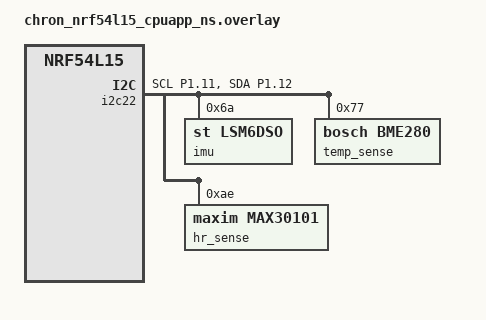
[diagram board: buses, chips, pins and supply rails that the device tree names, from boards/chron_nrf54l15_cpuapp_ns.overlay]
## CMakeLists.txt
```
#
# Copyright (c) 2016 Intel Corporation
#
# SPDX-License-Identifier: Apache-2.0
#

cmake_minimum_required(VERSION 3.20.0)
find_package(Zephyr REQUIRED HINTS $ENV{ZEPHYR_BASE})
project(chron)

target_sources(app PRIVATE src/main.c)
target_sources(app PRIVATE src/gpio.c)
target_sources(app PRIVATE src/imu.c)
target_sources(app PRIVATE src/temp_sensor.c)
target_sources(app PRIVATE src/hr_sensor.c)
target_sources(app PRIVATE src/page.c)
target_sources(app PRIVATE src/pages/home.c)
target_sources(app PRIVATE src/pages/summary.c)
target_sources(app PRIVATE src/pages/settings.c)
target_sources(app PRIVATE src/pages/timer.c)
target_sources(app PRIVATE src/pages/activity.c)
target_sources(app PRIVATE src/pages/climate.c)
```

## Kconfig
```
source "Kconfig.zephyr"

config DBG_PRINT
	bool "Enable debug printouts"
	default n
```

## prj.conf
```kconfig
CONFIG_GPIO=y
CONFIG_LOG=y
CONFIG_DBG_PRINT=y
CONFIG_LOG_MODE_DEFERRED=n
CONFIG_I2C=y
CONFIG_CBPRINTF_FP_SUPPORT=y
```

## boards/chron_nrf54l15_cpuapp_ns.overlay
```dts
&pinctrl {
	i2c20_default: i2c20_default {
		group1 {
			psels = <NRF_PSEL(TWIM_SCL, 1, 11)>, <NRF_PSEL(TWIM_SDA, 1, 12)>;
		};
	};

	i2c20_sleep: i2c20_sleep {
		group1 {
			psels = <NRF_PSEL(TWIM_SCL, 1, 11)>, <NRF_PSEL(TWIM_SDA, 1, 12)>;
			low-power-enable;
		};
	};

	i2c22_default: i2c22_default {
		group1 {
			psels = <NRF_PSEL(TWIM_SCL, 1, 11)>, <NRF_PSEL(TWIM_SDA, 1, 12)>;
		};
	};

	i2c22_sleep: i2c22_sleep {
		group1 {
			psels = <NRF_PSEL(TWIM_SCL, 1, 11)>, <NRF_PSEL(TWIM_SDA, 1, 12)>;
			low-power-enable;
		};
	};
};

&i2c22 {
	status = "okay";
	pinctrl-0 = <&i2c22_default>;
	pinctrl-1 = <&i2c22_sleep>;
	pinctrl-names = "default", "sleep";
	imu: lsm6dsox@6a {
		compatible = "st,lsm6dso";
		reg = <0x6a>;
	};

	temp_sense: bme280@77 {
		compatible = "bosch,bme280";
		reg = <0x77>;
	};

	hr_sense: max30102@ae {
		compatible = "maxim,max30101";
		reg = <0xae>;
	};
};
```

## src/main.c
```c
#include <zephyr/kernel.h>
#include <zephyr/logging/log.h>
#include <zephyr/drivers/gpio.h>

#include "gpio.h"
#include "page.h"
#include "pages/timer.h"
#include "imu.h"
#include "temp_sensor.h"
#include "hr_sensor.h"

/* Register with logger module */
#ifdef CONFIG_DBG_PRINT
    LOG_MODULE_REGISTER(main, LOG_LEVEL_DBG);
#else
    LOG_MODULE_REGISTER(main, LOG_LEVEL_INF);
#endif

/* Main routine */
int main(void) {
    LOG_INF("Starting main routine");
    gpio_init();
    timer_init();
    ui_init();
    imu_init();
    temp_sensor_init();
    return 0;
}
```

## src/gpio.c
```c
#include <zephyr/kernel.h>
#include <zephyr/device.h>
#include <zephyr/devicetree.h>
#include <zephyr/drivers/gpio.h>
#include <zephyr/logging/log.h>

#include "page.h"

/* GPIO device structures for buttons */
#define SW0_NODE DT_ALIAS(sw0)
static const struct gpio_dt_spec button0 = GPIO_DT_SPEC_GET(SW0_NODE, gpios);

#define SW1_NODE DT_ALIAS(sw1)
static const struct gpio_dt_spec button1 = GPIO_DT_SPEC_GET(SW1_NODE, gpios);

#define SW2_NODE DT_ALIAS(sw2)
static const struct gpio_dt_spec button2 = GPIO_DT_SPEC_GET(SW2_NODE, gpios);

#define SW3_NODE DT_ALIAS(sw3)
static const struct gpio_dt_spec button3 = GPIO_DT_SPEC_GET(SW3_NODE, gpios);

/* GPIO device structures for buttons */
#define LED0_NODE DT_ALIAS(led0)
static const struct gpio_dt_spec led0 = GPIO_DT_SPEC_GET(LED0_NODE, gpios);

#define LED1_NODE DT_ALIAS(led1)
static const struct gpio_dt_spec led1 = GPIO_DT_SPEC_GET(LED1_NODE, gpios);

#define LED2_NODE DT_ALIAS(led2)
static const struct gpio_dt_spec led2 = GPIO_DT_SPEC_GET(LED2_NODE, gpios);

#define LED3_NODE DT_ALIAS(led3)
static const struct gpio_dt_spec led3 = GPIO_DT_SPEC_GET(LED3_NODE, gpios);

/* Register with logger module */
#ifdef CONFIG_DBG_PRINT
    LOG_MODULE_REGISTER(gpio, LOG_LEVEL_DBG);
#else
    LOG_MODULE_REGISTER(gpio, LOG_LEVEL_INF);
#endif

/* Button 0 callback function */
void button0_pressed(const struct device *dev, struct gpio_callback *cb, uint32_t pins)
{
	int ret;
	gpio_pin_toggle_dt(&led0);
	LOG_DBG("Button 0 pressed");
	if ((ret = k_work_submit_to_queue(&ui_workq, &button0_work)) < 0) {
		LOG_ERR("Failed to submit button 0 press to queue (err %d)", ret);
	}
}

/* Button 1 callback function */
void button1_pressed(const struct device *dev, struct gpio_callback *cb, uint32_t pins)
{
	int ret;
	gpio_pin_toggle_dt(&led1);
	LOG_DBG("Button 1 pressed");
	if ((ret = k_work_submit_to_queue(&ui_workq, &button1_work)) < 0) {
		LOG_ERR("Failed to submit button 0 press to queue (err %d)", ret);
	}
}

/* Button 2 callback function */
void button2_pressed(const struct device *dev, struct gpio_callback *cb, uint32_t pins)
{
	int ret;
	gpio_pin_toggle_dt(&led2);
	LOG_DBG("Button 2 pressed");
	if ((ret = k_work_submit_to_queue(&ui_workq, &button2_work)) < 0) {
		LOG_ERR("Failed to submit button 0 press to queue (err %d)", ret);
	}
}

/* Button 3 callback function */
void button3_pressed(const struct device *dev, struct gpio_callback *cb, uint32_t pins)
{
	int ret;
	gpio_pin_toggle_dt(&led3);
	LOG_DBG("Button 3 pressed");
	if ((ret = k_work_submit_to_queue(&ui_workq, &button3_work)) < 0) {
		LOG_ERR("Failed to submit button 0 press to queue (err %d)", ret);
	}
}

/* Define a variable of type static struct gpio_callback */
static struct gpio_callback button0_cb_data;
static struct gpio_callback button1_cb_data;
static struct gpio_callback button2_cb_data;
static struct gpio_callback button3_cb_data;

int gpio_init(void)
{
	int ret;

	/* Check button status */
	if (!device_is_ready(button0.port)) {
		LOG_ERR("Button 0 not ready");
		return -1;
	}
	if (!device_is_ready(button1.port)) {
		LOG_ERR("Button 1 not ready");
		return -1;
	}
	if (!device_is_ready(button2.port)) {
		LOG_ERR("Button 2 not ready");
		return -1;
	}
	if (!device_is_ready(button3.port)) {
		LOG_ERR("Button 3 not ready");
		return -1;
	}

	LOG_DBG("All buttons ready for use");

	/* Check LED status */
	if (!device_is_ready(led0.port)) {
		LOG_ERR("LED 0 not ready");
		return -1;
	}
	if (!device_is_ready(led1.port)) {
		LOG_ERR("LED 1 not ready");
		return -1;
	}
	if (!device_is_ready(led2.port)) {
		LOG_ERR("LED 2 not ready");
		return -1;
	}
	if (!device_is_ready(led3.port)) {
		LOG_ERR("LED 3 not ready");
		return -1;
	}

	LOG_DBG("All LEDs ready for use");

	/* Configure buttons */
	ret = gpio_pin_configure_dt(&button0, GPIO_INPUT);
	if (ret < 0) {
		LOG_ERR("Failed to configure button 0 (err %d)", ret);
		return -1;
	}
	ret = gpio_pin_configure_dt(&button1, GPIO_INPUT);
	if (ret < 0) {
		LOG_ERR("Failed to configure button 1 (err %d)", ret);
		return -1;
	}
	ret = gpio_pin_configure_dt(&button2, GPIO_INPUT);
	if (ret < 0) {
		LOG_ERR("Failed to configure button 2 (err %d)", ret);
		return -1;
	}
	ret = gpio_pin_configure_dt(&button3, GPIO_INPUT);
	if (ret < 0) {
		LOG_ERR("Failed to configure button 3 (err %d)", ret);
		return -1;
	}

	LOG_DBG("All buttons successfully configured");

	/* Configure LEDs */
	ret = gpio_pin_configure_dt(&led0, GPIO_OUTPUT_ACTIVE);
	if (ret < 0) {
		LOG_ERR("Failed to configure led 0 (err %d)", ret);
		return -1;
	}
	ret = gpio_pin_configure_dt(&led1, GPIO_OUTPUT_ACTIVE);
	if (ret < 0) {
		LOG_ERR("Failed to configure led 1 (err %d)", ret);
		return -1;
	}
	ret = gpio_pin_configure_dt(&led2, GPIO_OUTPUT_ACTIVE);
	if (ret < 0) {
		LOG_ERR("Failed to configure led 2 (err %d)", ret);
		return -1;
	}
	ret = gpio_pin_configure_dt(&led3, GPIO_OUTPUT_ACTIVE);
	if (ret < 0) {
		LOG_ERR("Failed to configure led 3 (err %d)", ret);
		return -1;
	}

	LOG_DBG("All LEDs successfully configured");

	/* Configure the interrupt on the buttons' pins */
	ret = gpio_pin_interrupt_configure_dt(&button0, GPIO_INT_EDGE_TO_ACTIVE);
	if (ret < 0) {
		LOG_ERR("Failed to configure button 0 interrupt (err %d)", ret);
		return -1;
	}
	ret = gpio_pin_interrupt_configure_dt(&button1, GPIO_INT_EDGE_TO_ACTIVE);
	if (ret < 0) {
		LOG_ERR("Failed to configure button 1 interrupt (err %d)", ret);
		return -1;
	}
	ret = gpio_pin_interrupt_configure_dt(&button2, GPIO_INT_EDGE_TO_ACTIVE);
	if (ret < 0) {
		LOG_ERR("Failed to configure button 2 interrupt (err %d)", ret);
		return -1;
	}
	ret = gpio_pin_interrupt_configure_dt(&button3, GPIO_INT_EDGE_TO_ACTIVE);
	if (ret < 0) {
		LOG_ERR("Failed to configure button 3 interrupt (err %d)", ret);
		return -1;
	}

	LOG_DBG("All button interrupts successfully configured");

	/* Initialize the static struct gpio_callback variables */
	gpio_init_callback(&button0_cb_data, button0_pressed, BIT(button0.pin));
	gpio_init_callback(&button1_cb_data, button1_pressed, BIT(button1.pin));
	gpio_init_callback(&button2_cb_data, button2_pressed, BIT(button2.pin));
	gpio_init_callback(&button3_cb_data, button3_pressed, BIT(button3.pin));

	/* Add the callback functions */
	gpio_add_callback(button0.port, &button0_cb_data);
	gpio_add_callback(button1.port, &button1_cb_data);
	gpio_add_callback(button2.port, &button2_cb_data);
	gpio_add_callback(button3.port, &button3_cb_data);

	LOG_INF("GPIO successfully initialized");
	return ret;
}
```

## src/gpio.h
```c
/**
 * @brief Initialize GPIO devices
 *
 * Configures LEDs and buttons, including callback functions.
 *
 * @return 0 if successful, negative error code otherwise.
 */
int gpio_init(void);
```

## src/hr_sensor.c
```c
#include <zephyr/kernel.h>
#include <zephyr/device.h>
#include <zephyr/devicetree.h>
#include <zephyr/drivers/gpio.h>
#include <zephyr/logging/log.h>
#include <zephyr/drivers/i2c.h>

#include "hr_sensor.h"

#define I2C_ADDRESS 0xAE
#define DEVICE_ID   0x15
#define ID	        0xFF

#define I2C_NODE DT_NODELABEL(hr_sense)
static const struct i2c_dt_spec dev_i2c = I2C_DT_SPEC_GET(I2C_NODE);

/* Register with logger module */
#ifdef CONFIG_DBG_PRINT
    LOG_MODULE_REGISTER(hr_sensor, LOG_LEVEL_DBG);
#else
    LOG_MODULE_REGISTER(hr_sensor, LOG_LEVEL_INF);
#endif

int hr_sensor_init(void) {
    if (!i2c_is_ready_dt(&dev_i2c)) {
        LOG_ERR("HR sensor is not ready");
        return -1;
    }

    uint8_t id = 0;
    uint8_t regs[] = {ID};
    int ret = i2c_write_read_dt(&dev_i2c, regs, 1, &id, 1);

    if (ret != 0) {
        LOG_ERR("Could not read device ID (err %d)", ret);
        return -1;
    }

    if (id != DEVICE_ID) {
        LOG_ERR("Could not verify device ID");
        return -1;
    }

    LOG_INF("HR sensor successfully initialized");
    return 0;
}
```

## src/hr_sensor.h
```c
/**
 * @brief Initialize Heart Rate Sensor
 *
 * @return 0 if successful, negative error code otherwise.
 */
int hr_sensor_init(void);
```

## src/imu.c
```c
#include <zephyr/kernel.h>
#include <zephyr/device.h>
#include <zephyr/devicetree.h>
#include <zephyr/drivers/gpio.h>
#include <zephyr/logging/log.h>
#include <zephyr/drivers/i2c.h>

#include "imu.h"

#define I2C_ADDRESS      0x6A
#define DEVICE_ID        0x6C
#define WHO_AM_I         0x0F
#define EMB_FUNC_ENABLE  0x01
#define ACCEL_ENABLE     0x10
#define PEDOMETER_ENABLE 0x04
#define PEDOMETER_INIT   0x66
#define STEPS_COUNT      0x62
#define STEPS_RESET      0x64

#define I2C_NODE DT_NODELABEL(imu)
static const struct i2c_dt_spec dev_i2c = I2C_DT_SPEC_GET(I2C_NODE);

/* Register with logger module */
#ifdef CONFIG_DBG_PRINT
    LOG_MODULE_REGISTER(imu, LOG_LEVEL_DBG);
#else
    LOG_MODULE_REGISTER(imu, LOG_LEVEL_INF);
#endif

int imu_init(void) {
    if (!i2c_is_ready_dt(&dev_i2c)) {
        LOG_ERR("IMU is not ready");
        return -1;
    }

    /* Disable embedded function registers to access WHO_AM_I, Accel */
    int ret;
    uint8_t emb_func_config_disable[] = {EMB_FUNC_ENABLE, 0x0};
    ret = i2c_write_dt(&dev_i2c, emb_func_config_disable, 2);
    if (ret < 0) {
        LOG_ERR("Could not disable embedded function registers (err %d)", ret);
        return -1;
    }

    /* Verify ID */
    uint8_t reg = WHO_AM_I;
    uint8_t id = 0;
    ret = i2c_write_read_dt(&dev_i2c, &reg, sizeof(reg), &id, sizeof(id));
    if (ret < 0) {
        LOG_ERR("Could not read device ID (err %d)", ret);
        return -1;
    }

    if (id != DEVICE_ID) {
        LOG_ERR("Could not verify device ID");
        return -1;
    }

    /* Enable accelerometer */
    uint8_t accel_config[] = {ACCEL_ENABLE, 0x10};
    ret = i2c_write_dt(&dev_i2c, accel_config, 2);
    if (ret < 0) {
        LOG_ERR("Could not enable accelerometer (err %d)", ret);
        return -1;
    }

    /* Enable embedded function registers */
    uint8_t emb_func_config_enable[] = {EMB_FUNC_ENABLE, 0x80};
    ret = i2c_write_dt(&dev_i2c, emb_func_config_enable, 2);
    if (ret < 0) {
        LOG_ERR("Could not enable embedded function registers (err %d)", ret);
        return -1;
    }

    /* Enable pedometer */
    uint8_t pedom_enable_config[] = {PEDOMETER_ENABLE, 0x08};
    ret = i2c_write_dt(&dev_i2c, pedom_enable_config, 2);
    if (ret < 0) {
        LOG_ERR("Could not enable pedometer (err %d)", ret);
        return -1;
    }

    /* Initialize pedometer algorithm */
    uint8_t pedom_init_config[] = {PEDOMETER_INIT, 0x08};
    ret = i2c_write_dt(&dev_i2c, pedom_init_config, 2);
    if (ret < 0) {
        LOG_ERR("Could not initialize pedometer (err %d)", ret);
        return -1;
    }
    
    LOG_INF("IMU successfully initialized");
    return 0;
}

uint16_t steps_get(void) {
    uint8_t reg = STEPS_COUNT;
    uint8_t steps[] = {0, 0};
    int ret = i2c_burst_read_dt(&dev_i2c, reg, steps, 2);
    if (ret < 0) {
        LOG_ERR("Failed to read from pedometer (err %d)", ret);
    }
    uint16_t res = ((uint16_t)steps[1] << 8) | steps[0];
    
    LOG_DBG("Step counter: %d", res);
    return res;
}

void steps_reset(void) {
    int ret;
    uint8_t config[] = {STEPS_RESET, 0};
    ret = i2c_write_read_dt(&dev_i2c, config, sizeof(config[0]), config + 1, sizeof(config[1]));
    if (ret < 0) {
        LOG_ERR("Failed to read from IMU (err %d)", ret);
    }
    config[1] |= 0x80;
    ret = i2c_write_dt(&dev_i2c, config, 2);
    if (ret < 0) {
        LOG_ERR("Failed to write to IMU (err %d)", ret);
    }
    LOG_DBG("Step counter reset");
}
```

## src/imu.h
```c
/**
 * @brief Initialize IMU
 *
 * @return 0 if successful, negative error code otherwise.
 */
int imu_init(void);

/**
 * @brief Read from IMU pedometer
 *
 * @return Number of steps since last reset
 */
uint16_t steps_get(void);

/**
 * @brief Reset IMU pedometer
 */
void steps_reset(void);
```

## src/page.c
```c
#include <zephyr/kernel.h>
#include <zephyr/logging/log.h>

#include "page.h"
#include "pages/home.h"

#define UI_WORKQ_PRIORITY 3
#define UI_STACK_MAX 8
#define UI_WORKQ_THREAD_STACK_SIZE 512

/* Define UI stack */
static ui_page_t *ui_stack[UI_STACK_MAX] = {0};
static int ui_stack_top = -1;

/* Define workqueue structure */
struct k_work_q ui_workq = {0};

/* Define stack area used by workqueue thread */
static K_THREAD_STACK_DEFINE(my_stack_area, UI_WORKQ_THREAD_STACK_SIZE);

/* Work item for each button */
struct k_work button0_work;
struct k_work button1_work;
struct k_work button2_work;
struct k_work button3_work;

/* Function prototypes */
static int ui_handle_input(ui_button_t button);
static void offload_prev(struct k_work *work);
static void offload_next(struct k_work *work);
static void offload_back(struct k_work *work);
static void offload_select(struct k_work *work);

/* Register with logger module */
#ifdef CONFIG_DBG_PRINT
    LOG_MODULE_REGISTER(page, LOG_LEVEL_DBG);
#else
    LOG_MODULE_REGISTER(page, LOG_LEVEL_INF);
#endif

/* UI stack operations */
ui_page_t *ui_pop(void) {
    if (ui_stack_top < 1) {
        LOG_ERR("ui_pop failed: Nothing on the UI stack!");
        return NULL;
    }
    if (ui_stack[ui_stack_top]->on_exit) {
        ui_stack[ui_stack_top]->on_exit();
    }
    ui_page_t* page = ui_stack[--ui_stack_top];
    if (ui_stack[ui_stack_top]->on_enter) {
        ui_stack[ui_stack_top]->on_enter();
    }
    return page;

}

void ui_push(ui_page_t *page) {
    if (ui_stack_top >= UI_STACK_MAX - 1) {
        LOG_ERR("ui_push failed: UI stack is full!");
        return;
    }
    if (ui_stack[ui_stack_top]->on_exit) {
        ui_stack[ui_stack_top]->on_exit();
    }
    ui_stack[++ui_stack_top] = page;
    if (ui_stack[ui_stack_top]->on_enter) {
        ui_stack[ui_stack_top]->on_enter();
    }
}

ui_page_t *ui_reset(void) {
    ui_stack_top = 0;
    if (ui_stack[ui_stack_top] == NULL) {
        ui_stack[ui_stack_top] = &home;
    }
    return &home;
}

/* Workqueue offload functions */
static void offload_prev(struct k_work *work) {
    ui_handle_input(BTN_PREV);
}
static void offload_next(struct k_work *work) {
    ui_handle_input(BTN_NEXT);
}
static void offload_back(struct k_work *work) {
    ui_handle_input(BTN_BACK);
}
static void offload_select(struct k_work *work) {
    ui_handle_input(BTN_SELECT);
}

/* Must be called before buttons can be used */
int ui_init(void) {
    k_work_queue_start(&ui_workq, my_stack_area, UI_WORKQ_THREAD_STACK_SIZE, UI_WORKQ_PRIORITY, NULL);
    k_work_init(&button0_work, offload_prev);
    k_work_init(&button1_work, offload_next);
    k_work_init(&button2_work, offload_back);
    k_work_init(&button3_work, offload_select); 

    ui_reset();
    LOG_INF("UI successfully initialized");
    return 0;
}

/* Button input handler */
static int ui_handle_input(ui_button_t button) {
    //LOG_DBG("UI workqueue received button %d press", button);
    ui_stack[ui_stack_top]->handle_input(button);
    return 0;
}
```

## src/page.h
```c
/* Button definition */
typedef enum {
    BTN_PREV,
    BTN_NEXT,
    BTN_BACK,
    BTN_SELECT,
} ui_button_t;

/* Page structure */
typedef struct {
    void (*on_enter)(void);
    void (*on_exit)(void);
    void (*handle_input)(ui_button_t);
    void *info;
} ui_page_t;

/* Workqueue structure */
extern struct k_work_q ui_workq;

/* Work item for each button */
extern struct k_work button0_work;
extern struct k_work button1_work;
extern struct k_work button2_work;
extern struct k_work button3_work;

/* UI stack operations */
ui_page_t *ui_pop(void);
void ui_push(ui_page_t *page);
ui_page_t *ui_reset(void);

/* Routines */
int ui_init(void);
```

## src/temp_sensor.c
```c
#include <zephyr/kernel.h>
#include <zephyr/device.h>
#include <zephyr/devicetree.h>
#include <zephyr/drivers/gpio.h>
#include <zephyr/logging/log.h>
#include <zephyr/drivers/i2c.h>

#include "temp_sensor.h"

#define I2C_ADDRESS  0x77
#define DEVICE_ID    0x60
#define CTRLMEAS     0xF4
#define CALIB00	     0x88
#define CALIB06	     0x8E
#define CALIB25	     0xA1
#define CALIB26	     0xE1
#define ID	         0xD0
#define TEMPMSB	     0xFA
#define PRESSMSB     0xF7
#define HUMMSB	     0xFD
#define CONFIG_VALUE 0x93

#define I2C_NODE DT_NODELABEL(temp_sense)
static const struct i2c_dt_spec dev_i2c = I2C_DT_SPEC_GET(I2C_NODE);

/* Register with logger module */
#ifdef CONFIG_DBG_PRINT
    LOG_MODULE_REGISTER(temp_sensor, LOG_LEVEL_DBG);
#else
    LOG_MODULE_REGISTER(temp_sensor, LOG_LEVEL_INF);
#endif

/* Sensor calibration values */
typedef struct {
    uint16_t dig_t1;
    int16_t dig_t2;
    int16_t dig_t3;

    uint16_t dig_p1;
    int16_t dig_p2;
    int16_t dig_p3;
    int16_t dig_p4;
    int16_t dig_p5;
    int16_t dig_p6;
    int16_t dig_p7;
    int16_t dig_p8;
    int16_t dig_p9;

    uint8_t dig_h1;
    int16_t dig_h2;
    uint8_t dig_h3;
    int16_t dig_h4;
    int16_t dig_h5;
    int8_t dig_h6;
} sensor_data_t;

static sensor_data_t data;

/* Compensate current temperature using previously stored sensor calibration data */
static int32_t bme280_compensate_temp(int32_t adc_temp)
{
	int32_t var1, var2;

	var1 = (((adc_temp >> 3) - ((int32_t)data.dig_t1 << 1)) * ((int32_t)data.dig_t2)) >> 11;

	var2 = (((((adc_temp >> 4) - ((int32_t)data.dig_t1)) *
		   ((adc_temp >> 4) - ((int32_t)data.dig_t1))) >> 12) * 
           ((int32_t)data.dig_t3)) >> 14;

	return ((var1 + var2) * 5 + 128) >> 8;
}

/* Compensate current pressure using previously stored sensor calibration data */
static uint32_t bme280_compensate_press(int32_t adc_press) {
    uint8_t temp_val[3] = {0};
    int ret = i2c_burst_read_dt(&dev_i2c, TEMPMSB, temp_val, 3);

    if (ret != 0) {
        LOG_ERR("Could not read temperature");
        return -1;
    }

    int32_t adc_temp = (temp_val[0] << 12) | 
                       (temp_val[1] << 4) | 
                       ((temp_val[2] >> 4) & 0x0F);

    int32_t varA, varB;
    varA = ((((adc_temp >> 3) - ((int32_t)data.dig_t1 << 1))) * ((int32_t)data.dig_t2)) >> 11;
    varB = (((((adc_temp >> 4) - ((int32_t)data.dig_t1)) * ((adc_temp >> 4) - ((int32_t)data.dig_t1)))
    >> 12) * ((int32_t)data.dig_t3)) >> 14;
    int32_t t_fine = varA + varB;
                       
    int64_t var1, var2, p;

    var1 = ((int64_t)t_fine) - 128000;
    var2 = var1 * var1 * (int64_t)data.dig_p6;
    var2 = var2 + ((var1 * (int64_t)data.dig_p5) << 17);
    var2 = var2 + (((int64_t)data.dig_p4) << 35);
    var1 = ((var1 * var1 * (int64_t)data.dig_p3) >> 8) + ((var1 * (int64_t)data.dig_p2) << 12);
    var1 = (((((int64_t)1) << 47) + var1)) * ((int64_t)data.dig_p1) >> 33;
    if (var1 == 0) {
        return 0; // avoid exception caused by division by zero
    }
    p = 1048576 - adc_press;
    p = (((p << 31) - var2) * 3125) / var1;
    var1 = (((int64_t)data.dig_p9) * (p >> 13) * (p >> 13)) >> 25;
    var2 = (((int64_t)data.dig_p8) * p) >> 19;
    p = ((p + var1 + var2) >> 8) + (((int64_t)data.dig_p7) << 4);
    return (uint32_t)p;
}

/* Compensate current pressure using previously stored sensor calibration data */
static uint32_t bme280_compensate_hum(int32_t adc_hum) {
    uint8_t temp_val[3] = {0};
    int ret = i2c_burst_read_dt(&dev_i2c, TEMPMSB, temp_val, 3);

    if (ret != 0) {
        LOG_ERR("Could not read temperature");
        return -1;
    }

    int32_t adc_temp = (temp_val[0] << 12) | 
                       (temp_val[1] << 4) | 
                       ((temp_val[2] >> 4) & 0x0F);

    int32_t varA, varB;
    varA = ((((adc_temp >> 3) - ((int32_t)data.dig_t1 << 1))) * ((int32_t)data.dig_t2)) >> 11;
    varB = (((((adc_temp >> 4) - ((int32_t)data.dig_t1)) * ((adc_temp >> 4) - ((int32_t)data.dig_t1)))
    >> 12) * ((int32_t)data.dig_t3)) >> 14;
    int32_t t_fine = varA + varB;
    
    int32_t v_x1_u32r;
    v_x1_u32r = (t_fine - ((int32_t)76800));
    v_x1_u32r = (((((adc_hum << 14) - (((int32_t)data.dig_h4) << 20) - (((int32_t)data.dig_h5) *
    v_x1_u32r)) + ((int32_t)16384)) >> 15) * (((((((v_x1_u32r *
    ((int32_t)data.dig_h6)) >> 10) * (((v_x1_u32r * ((int32_t)data.dig_h3)) >> 11) +
    ((int32_t)32768))) >> 10) + ((int32_t)2097152)) * ((int32_t)data.dig_h2) +
    8192) >> 14));
    v_x1_u32r = (v_x1_u32r - (((((v_x1_u32r >> 15) * (v_x1_u32r >> 15)) >> 7) *
    ((int32_t)data.dig_h1)) >> 4));
    v_x1_u32r = (v_x1_u32r < 0 ? 0 : v_x1_u32r);
    v_x1_u32r = (v_x1_u32r > 419430400 ? 419430400 : v_x1_u32r);
    return (uint32_t)(v_x1_u32r >> 12);
}

int temp_sensor_init(void) {
    if (!i2c_is_ready_dt(&dev_i2c)) {
        LOG_ERR("Temp sensor is not ready");
        return -1;
    }

    uint8_t id = 0;
    uint8_t regs[] = {ID};
    int ret = i2c_write_read_dt(&dev_i2c, regs, 1, &id, 1);

    if (ret != 0) {
        LOG_ERR("Could not read device ID (err %d)", ret);
        return -1;
    }

    if (id != DEVICE_ID) {
        LOG_ERR("Could not verify device ID");
        return -1;
    }

    uint8_t t_values[6];
    uint8_t p_values[18];
    uint8_t h_values[8];

    /* Get temperature calibration values */
    ret = i2c_burst_read_dt(&dev_i2c, CALIB00, t_values, 6);

    if (ret != 0) {
        LOG_ERR("Could not read calibration registers");
        return -1;
    }

    data.dig_t1 = ((uint16_t)t_values[1]) << 8 | t_values[0];
	data.dig_t2 = ((uint16_t)t_values[3]) << 8 | t_values[2];
	data.dig_t3 = ((uint16_t)t_values[5]) << 8 | t_values[4];

    /* Get pressure calibration values */
    ret = i2c_burst_read_dt(&dev_i2c, CALIB06, p_values, 18);

    if (ret != 0) {
        LOG_ERR("Could not read calibration registers");
        return -1;
    }

    data.dig_p1 = ((uint16_t)p_values[1]) << 8 | p_values[0];
    data.dig_p2 = ((uint16_t)p_values[3]) << 8 | p_values[2];
    data.dig_p3 = ((uint16_t)p_values[5]) << 8 | p_values[4];
    data.dig_p4 = ((uint16_t)p_values[7]) << 8 | p_values[6];
    data.dig_p5 = ((uint16_t)p_values[9]) << 8 | p_values[8];
    data.dig_p6 = ((uint16_t)p_values[11]) << 8 | p_values[10];
    data.dig_p7 = ((uint16_t)p_values[13]) << 8 | p_values[12];
    data.dig_p8 = ((uint16_t)p_values[15]) << 8 | p_values[14];
    data.dig_p9 = ((uint16_t)p_values[17]) << 8 | p_values[16];

    /* Get humidity calibration values */
    ret = i2c_burst_read_dt(&dev_i2c, CALIB25, h_values, 1);

    if (ret != 0) {
        LOG_ERR("Could not read calibration registers");
        return -1;
    }

    ret = i2c_burst_read_dt(&dev_i2c, CALIB26, h_values+1, 7);

    if (ret != 0) {
        LOG_ERR("Could not read calibration registers");
        return -1;
    }

    data.dig_h1 = (uint16_t)h_values[0];
    data.dig_h2 = ((uint16_t)h_values[2]) << 8 | h_values[1];
    data.dig_h3 = (uint16_t)h_values[3];
    data.dig_h4 = ((uint16_t)h_values[4]) << 4 | (h_values[5] & 0x0F);
    data.dig_h5 = ((uint16_t)h_values[6]) << 4 | ((h_values[5] >> 4) & 0x0F);
    data.dig_h6 = (uint8_t)h_values[7];

    /* Configure sensor */
    uint8_t sensor_config[] = {CTRLMEAS, CONFIG_VALUE};
    ret = i2c_write_dt(&dev_i2c, sensor_config, 2);

    if (ret != 0) {
        LOG_ERR("Could not write to config registers");
        return -1;
    }

    LOG_INF("Temp sensor successfully initialized");
    return 0;
}

double temp_get(bool in_C) {
    uint8_t temp_val[3] = {0};
    int ret = i2c_burst_read_dt(&dev_i2c, TEMPMSB, temp_val, 3);

    if (ret != 0) {
        LOG_ERR("Could not read temperature");
        return -1;
    }

    int32_t adc_temp = (temp_val[0] << 12) | 
                       (temp_val[1] << 4) | 
                       ((temp_val[2] >> 4) & 0x0F);

    int32_t comp_temp = bme280_compensate_temp(adc_temp);

    double cTemp = (double)((float)comp_temp / 100.0f);
	double fTemp = cTemp * 1.8 + 32;

    if (in_C) {
        return cTemp;
    } else {
        return fTemp;
    }
}

double pressure_get(void) {
    uint8_t press_val[3] = {0};
    int ret = i2c_burst_read_dt(&dev_i2c, PRESSMSB, press_val, 3);

    if (ret != 0) {
        LOG_ERR("Could not read pressure");
        return -1;
    }

    int32_t adc_press = (press_val[0] << 12) | 
                        (press_val[1] << 4) | 
                        ((press_val[2] >> 4) & 0x0F);

    int32_t comp_press = bme280_compensate_press(adc_press);
    double pressure = (double)(comp_press >> 8) / (double)1000;
    return pressure;
}

double humidity_get(void) {
    uint8_t hum_val[2] = {0};
    int ret = i2c_burst_read_dt(&dev_i2c, HUMMSB, hum_val, 2);

    if (ret != 0) {
        LOG_ERR("Could not read humidity");
        return -1;
    }

    int32_t adc_hum = (hum_val[0] << 8) | hum_val[1];

    int32_t comp_hum = bme280_compensate_hum(adc_hum);
    double humidity = (double)comp_hum / (double)1024;
    return humidity;
}
```

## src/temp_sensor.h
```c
/**
 * @brief Initialize Temp Sensor
 *
 * @return 0 if successful, negative error code otherwise.
 */
int temp_sensor_init(void);

/**
 * @brief Read temperature from Temp Sensor
 *
 * @return Temperature value
 */
double temp_get(bool in_C);

/**
 * @brief Read presssure from Temp Sensor
 *
 * @return Pressure value
 */
double pressure_get(void);

/**
 * @brief Read humidity from Temp Sensor
 *
 * @return Humidity value
 */
double humidity_get(void);
```
